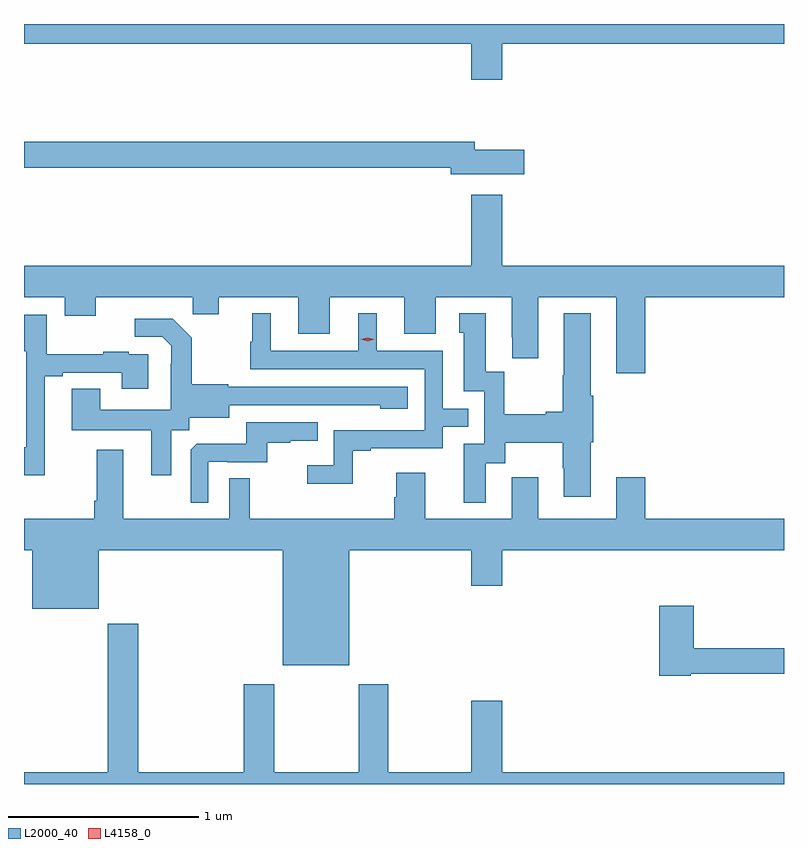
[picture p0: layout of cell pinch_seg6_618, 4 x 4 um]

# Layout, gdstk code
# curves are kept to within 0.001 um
import gdstk
lib = gdstk.Library(unit=1e-6, precision=1e-09)
def P(c, l, *ps):  # polygons
    for p in ps: c.add(gdstk.Polygon(p, *l))
L2000_40 = (2000, 40)
L4158_0 = (4158, 0)

pinch_seg6_618 = lib.new_cell('pinch_seg6_618')
P(pinch_seg6_618, L2000_40, [(428.908,971.312),(430.391,971.312),(430.391,971.417),(426.391,971.417),(426.391,971.312),(428.744,971.312),(428.744,971.124),(428.908,971.124)],
  [(429.025,970.755),(428.764,970.755),(428.764,970.796),(426.391,970.796),(426.391,970.66),(428.636,970.66),(428.636,970.625),(429.025,970.625)],
  [(429.662,969.98),(430.391,969.98),(430.391,970.144),(428.908,970.144),(428.908,970.519),(428.744,970.519),(428.744,970.144),(426.391,970.144),(426.391,969.98),(426.605,969.98),(426.605,969.881),(426.769,969.881),(426.769,969.98),(427.279,969.98),(427.279,969.89),(427.417,969.89),(427.417,969.98),(427.835,969.98),(427.835,969.786),(427.999,969.786),(427.999,969.98),(428.393,969.98),(428.393,969.786),(428.557,969.786),(428.557,969.98),(428.957,969.98),(428.957,969.769),(428.96,969.769),(428.96,969.657),(429.097,969.657),(429.097,969.98),(429.509,969.98),(429.509,969.579),(429.662,969.579)],
  [(428.821,969.106),(428.923,969.106),(428.923,969.212),(429.226,969.212),(429.226,969.078),(429.233,969.078),(429.233,968.928),(429.373,968.928),(429.373,969.216),(429.386,969.216),(429.386,969.46),(429.373,969.46),(429.373,969.895),(429.233,969.895),(429.233,969.569),(429.226,969.569),(429.226,969.377),(429.137,969.377),(429.137,969.364),(428.919,969.364),(428.919,969.587),(428.821,969.587),(428.821,969.895),(428.681,969.895),(428.681,969.792),(428.705,969.792),(428.705,969.483),(428.814,969.483),(428.814,969.207),(428.705,969.207),(428.705,968.898),(428.821,968.898)],
  [(428.121,969.171),(428.215,969.171),(428.215,969.183),(428.595,969.183),(428.595,969.297),(428.729,969.297),(428.729,969.393),(428.595,969.393),(428.595,969.696),(428.248,969.696),(428.248,969.895),(428.15,969.895),(428.15,969.696),(427.69,969.696),(427.69,969.895),(427.592,969.895),(427.592,969.744),(427.581,969.744),(427.581,969.6),(428.499,969.6),(428.499,969.279),(428.022,969.279),(428.022,969.094),(427.881,969.094),(427.881,968.996),(428.121,968.996)],
  [(426.499,969.564),(426.595,969.564),(426.595,969.582),(426.905,969.582),(426.905,969.498),(427.045,969.498),(427.045,969.678),(426.941,969.678),(426.941,969.691),(426.809,969.691),(426.809,969.68),(426.511,969.68),(426.511,969.888),(426.391,969.888),(426.391,969.695),(426.402,969.695),(426.402,969.19),(426.391,969.19),(426.391,969.042),(426.499,969.042)],
  [(427.165,969.28),(427.26,969.28),(427.26,969.344),(427.471,969.344),(427.471,969.411),(428.265,969.41),(428.265,969.392),(428.41,969.392),(428.41,969.507),(427.467,969.507),(427.467,969.52),(427.275,969.52),(427.275,969.765),(427.175,969.865),(426.975,969.865),(426.975,969.771),(427.119,969.771),(427.166,969.724),(427.166,969.629),(427.164,969.629),(427.164,969.388),(426.793,969.388),(426.793,969.497),(426.641,969.497),(426.641,969.278),(427.061,969.278),(427.061,969.042),(427.165,969.042)],
  [(427.362,969.114),(427.462,969.114),(427.462,969.111),(427.67,969.111),(427.67,969.213),(427.793,969.213),(427.793,969.224),(427.937,969.224),(427.937,969.321),(427.56,969.321),(427.56,969.209),(427.301,969.209),(427.269,969.177),(427.269,968.897),(427.362,968.897)],
  [(428.104,968.648),(428.744,968.648),(428.744,968.46),(428.908,968.46),(428.908,968.648),(430.391,968.648),(430.391,968.812),(429.662,968.812),(429.662,969.031),(429.509,969.031),(429.509,968.812),(429.097,968.812),(429.097,969.031),(428.957,969.031),(428.957,968.812),(428.503,968.812),(428.503,969.055),(428.351,969.055),(428.351,968.925),(428.339,968.925),(428.339,968.812),(427.579,968.812),(427.579,969.026),(427.47,969.026),(427.47,968.812),(426.913,968.812),(426.913,969.175),(426.773,969.175),(426.773,968.908),(426.761,968.908),(426.761,968.812),(426.391,968.812),(426.391,968.648),(426.434,968.648),(426.434,968.339),(426.784,968.339),(426.784,968.648),(427.754,968.648),(427.754,968.042),(428.104,968.042)],
  [(429.9,967.996),(430.391,967.996),(430.391,968.132),(429.917,968.132),(429.917,968.356),(429.734,968.356),(429.734,967.988),(429.9,967.988)],
  [(430.391,967.48),(428.908,967.48),(428.908,967.855),(428.744,967.855),(428.744,967.48),(428.307,967.48),(428.307,967.942),(428.152,967.942),(428.152,967.48),(427.707,967.48),(427.707,967.942),(427.547,967.942),(427.547,967.48),(426.992,967.48),(426.992,968.26),(426.832,968.26),(426.832,967.48),(426.391,967.48),(426.391,967.417),(430.391,967.417)])
P(pinch_seg6_618, L4158_0, [(428.199,969.747),(428.163,969.757),(428.163,969.757),(428.163,969.757),(428.199,969.767),(428.235,969.757),(428.235,969.757),(428.235,969.757)])

lib.write_gds('pinch_seg6_618.gds')
